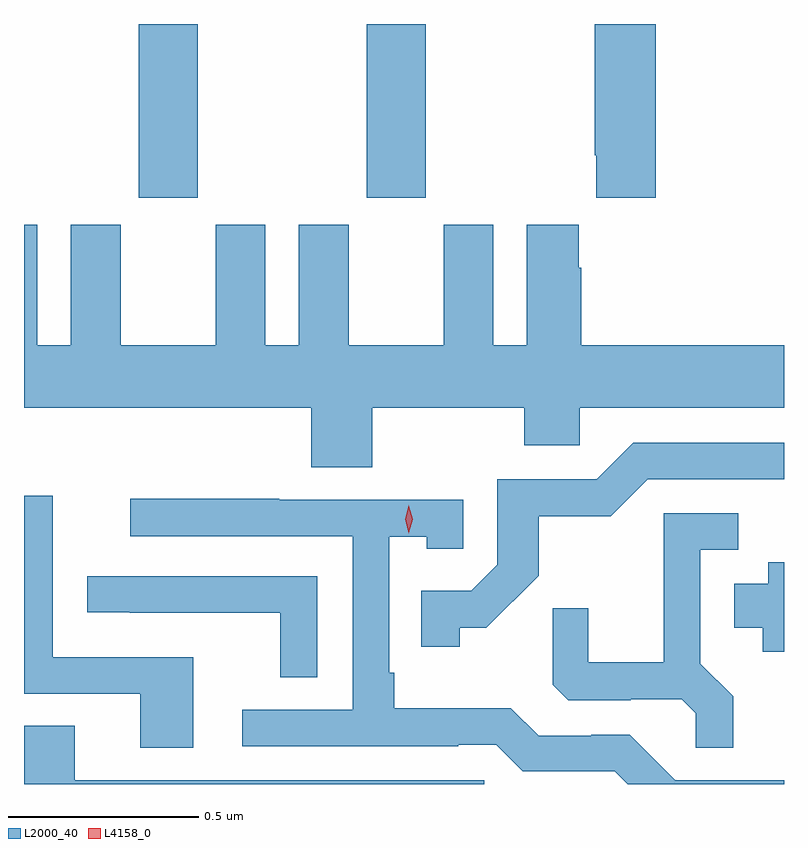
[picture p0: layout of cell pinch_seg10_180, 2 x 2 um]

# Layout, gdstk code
import gdstk
lib = gdstk.Library(unit=1e-6, precision=1e-09)
def R(c, l, rs):  # rectangles x0, y0, x1, y1
    for r in rs: c.add(gdstk.rectangle(r[:2], r[2:], *l))
def P(c, l, *ps):  # polygons
    for p in ps: c.add(gdstk.Polygon(p, *l))
L2000_40 = (2000, 40)
L4158_0 = (4158, 0)

pinch_seg10_180 = lib.new_cell('pinch_seg10_180')
R(pinch_seg10_180, L2000_40, [(682.495,1251.585,682.65,1252.042), (683.095,1251.585,683.25,1252.042)])
P(pinch_seg10_180, L2000_40, [(683.855,1252.042),(683.695,1252.042),(683.695,1251.697),(683.699,1251.697),(683.699,1251.585),(683.855,1251.585)],
  [(683.109,1251.032),(683.509,1251.032),(683.509,1250.934),(683.655,1250.934),(683.655,1251.032),(684.193,1251.032),(684.193,1251.196),(683.66,1251.196),(683.66,1251.401),(683.653,1251.401),(683.653,1251.514),(683.516,1251.514),(683.516,1251.196),(683.428,1251.196),(683.428,1251.514),(683.297,1251.514),(683.297,1251.196),(683.047,1251.196),(683.047,1251.514),(682.916,1251.514),(682.916,1251.196),(682.828,1251.196),(682.828,1251.514),(682.697,1251.514),(682.697,1251.196),(682.447,1251.196),(682.447,1251.514),(682.316,1251.514),(682.316,1251.196),(682.228,1251.196),(682.228,1251.514),(682.193,1251.514),(682.193,1251.032),(682.949,1251.032),(682.949,1250.875),(683.109,1250.875)],
  [(683.34,1250.453),(683.41,1250.453),(683.548,1250.59),(683.548,1250.746),(683.737,1250.746),(683.835,1250.844),(684.193,1250.844),(684.193,1250.94),(683.796,1250.94),(683.7,1250.844),(683.439,1250.844),(683.439,1250.619),(683.37,1250.55),(683.239,1250.55),(683.239,1250.403),(683.34,1250.403)],
  [(682.639,1250.376),(682.269,1250.376),(682.269,1250.8),(682.193,1250.8),(682.193,1250.28),(682.499,1250.28),(682.499,1250.137),(682.639,1250.137)],
  [(684.193,1250.052),(683.907,1250.052),(683.787,1250.172),(683.686,1250.172),(683.686,1250.169),(683.547,1250.169),(683.474,1250.242),(683.167,1250.242),(683.167,1250.335),(683.154,1250.335),(683.154,1250.693),(683.253,1250.693),(683.253,1250.661),(683.349,1250.661),(683.349,1250.79),(682.865,1250.79),(682.865,1250.793),(682.473,1250.793),(682.473,1250.694),(683.058,1250.694),(683.058,1250.238),(682.767,1250.238),(682.767,1250.142),(683.336,1250.142),(683.336,1250.145),(683.436,1250.145),(683.505,1250.076),(683.748,1250.076),(683.782,1250.042),(684.193,1250.042)],
  [(684.059,1250.273),(683.973,1250.359),(683.973,1250.658),(684.073,1250.658),(684.073,1250.754),(683.876,1250.754),(683.876,1250.362),(683.678,1250.362),(683.678,1250.505),(683.584,1250.505),(683.584,1250.303),(683.625,1250.262),(683.79,1250.262),(683.79,1250.265),(683.924,1250.265),(683.961,1250.228),(683.961,1250.137),(684.059,1250.137)],
  [(684.193,1250.626),(684.152,1250.626),(684.152,1250.569),(684.062,1250.569),(684.062,1250.453),(684.137,1250.453),(684.137,1250.39),(684.193,1250.39)],
  [(682.965,1250.589),(682.359,1250.589),(682.359,1250.494),(682.471,1250.494),(682.471,1250.493),(682.867,1250.493),(682.867,1250.323),(682.965,1250.323)],
  [(683.404,1250.052),(682.327,1250.052),(682.327,1250.195),(682.193,1250.195),(682.193,1250.042),(683.404,1250.042)])
P(pinch_seg10_180, L4158_0, [(683.206,1250.702),(683.205,1250.703),(683.196,1250.739),(683.205,1250.774),(683.206,1250.775),(683.206,1250.774),(683.216,1250.739),(683.206,1250.703)])

lib.write_gds('pinch_seg10_180.gds')
